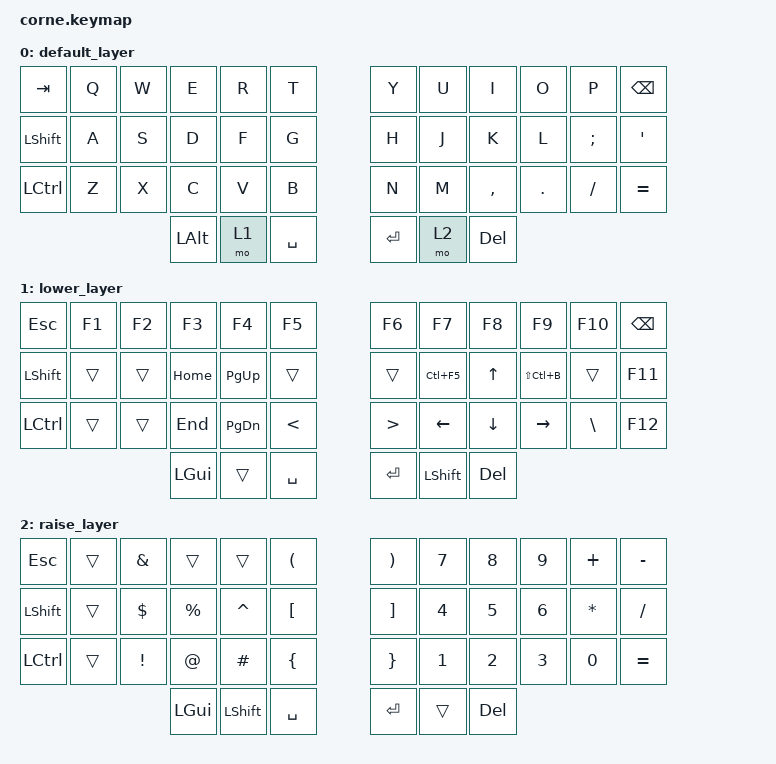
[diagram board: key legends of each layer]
/*
 * Copyright (c) 2020 The ZMK Contributors
 *
 * SPDX-License-Identifier: MIT
 */

#include <behaviors.dtsi>
#include <dt-bindings/zmk/keys.h>
#include <dt-bindings/zmk/bt.h>

/ {
        keymap {
        compatible = "zmk,keymap";

        default_layer {
            bindings = <
&kp TAB         &kp Q  &kp W  &kp E     &kp R  &kp T        &kp Y      &kp U  &kp I      &kp O    &kp P     &kp BACKSPACE
&kp LEFT_SHIFT  &kp A  &kp S  &kp D     &kp F  &kp G        &kp H      &kp J  &kp K      &kp L    &kp SEMI  &kp SQT
&kp LCTRL       &kp Z  &kp X  &kp C     &kp V  &kp B        &kp N      &kp M  &kp COMMA  &kp DOT  &kp FSLH  &kp EQUAL
                              &kp LALT  &mo 1  &kp SPACE    &kp ENTER  &mo 2  &kp DEL
            >;
        };

        lower_layer {
            bindings = <
&kp ESC         &kp F1  &kp F2  &kp F3    &kp F4         &kp F5           &kp F6            &kp F7          &kp F8          &kp F9         &kp F10   &kp BSPC
&kp LEFT_SHIFT  &trans  &trans  &kp HOME  &kp PG_UP      &trans           &trans            &kp LC(F5)      &kp UP          &kp LS(LC(B))  &trans    &kp F11
&kp LCTRL       &trans  &trans  &kp END   &kp PAGE_DOWN  &kp LESS_THAN    &kp GREATER_THAN  &kp LEFT_ARROW  &kp DOWN_ARROW  &kp RIGHT      &kp BSLH  &kp F12
                                &kp LGUI  &trans         &kp SPACE        &kp ENTER         &kp LEFT_SHIFT  &kp DEL
            >;
        };

        raise_layer {
            bindings = <
&kp ESCAPE      &trans  &kp AMPERSAND    &trans       &trans          &kp LEFT_PARENTHESIS    &kp RIGHT_PARENTHESIS  &kp N7        &kp N8   &kp N9  &kp PLUS      &kp MINUS
&kp LEFT_SHIFT  &trans  &kp DOLLAR       &kp PERCENT  &kp CARET       &kp LEFT_BRACKET        &kp RIGHT_BRACKET      &kp N4        &kp N5   &kp N6  &kp ASTERISK  &kp FSLH
&kp LCTRL       &trans  &kp EXCLAMATION  &kp AT_SIGN  &kp HASH        &kp LEFT_BRACE          &kp RIGHT_BRACE        &kp NUMBER_1  &kp N2   &kp N3  &kp N0        &kp EQUAL
                                         &kp LGUI     &kp LEFT_SHIFT  &kp SPACE               &kp ENTER              &trans        &kp DEL
            >;
        };
    };
};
